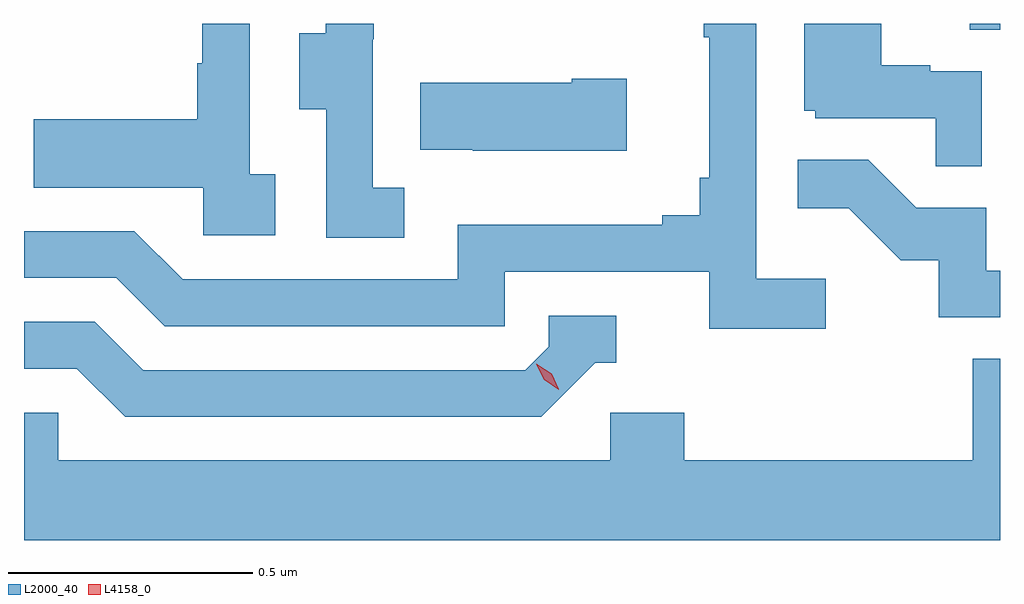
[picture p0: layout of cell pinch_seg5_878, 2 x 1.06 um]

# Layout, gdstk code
import gdstk
lib = gdstk.Library(unit=1e-6, precision=1e-09)
def R(c, l, rs):  # rectangles x0, y0, x1, y1
    for r in rs: c.add(gdstk.rectangle(r[:2], r[2:], *l))
def P(c, l, *ps):  # polygons
    for p in ps: c.add(gdstk.Polygon(p, *l))
L2000_40 = (2000, 40)
L4158_0 = (4158, 0)

pinch_seg5_878 = lib.new_cell('pinch_seg5_878')
R(pinch_seg5_878, L2000_40, [(854.105,891.106,854.167,891.119)])
P(pinch_seg5_878, L2000_40, [(853.81,890.596),(853.668,890.596),(853.668,891.119),(853.56,891.119),(853.56,891.091),(853.571,891.091),(853.571,890.803),(853.552,890.803),(853.552,890.726),(853.475,890.726),(853.475,890.707),(853.056,890.707),(853.056,890.595),(852.492,890.595),(852.393,890.694),(852.167,890.694),(852.167,890.598),(852.356,890.598),(852.455,890.499),(853.152,890.499),(853.152,890.61),(853.571,890.61),(853.571,890.494),(853.81,890.494)],
  [(852.682,890.81),(852.63,890.81),(852.63,891.119),(852.532,891.119),(852.532,891.038),(852.522,891.038),(852.522,890.923),(852.187,890.923),(852.187,890.783),(852.534,890.783),(852.534,890.685),(852.682,890.685)],
  [(854.13,891.021),(854.024,891.021),(854.024,891.034),(853.924,891.034),(853.924,891.119),(853.766,891.119),(853.766,890.94),(853.788,890.94),(853.788,890.925),(854.035,890.925),(854.035,890.827),(854.13,890.827)],
  [(852.946,890.783),(852.882,890.783),(852.882,891.087),(852.884,891.087),(852.884,891.119),(852.785,891.119),(852.785,891.099),(852.731,891.099),(852.731,890.944),(852.786,890.944),(852.786,890.68),(852.946,890.68)],
  [(853.402,891.006),(853.289,891.006),(853.289,890.998),(852.979,890.998),(852.979,890.861),(853.087,890.861),(853.087,890.858),(853.402,890.858)],
  [(854.167,890.613),(854.139,890.613),(854.139,890.742),(853.995,890.742),(853.897,890.84),(853.753,890.84),(853.753,890.741),(853.857,890.741),(853.964,890.634),(854.041,890.634),(854.041,890.517),(854.167,890.517)],
  [(853.338,890.424),(853.381,890.424),(853.381,890.52),(853.242,890.52),(853.242,890.457),(853.194,890.409),(852.411,890.409),(852.312,890.508),(852.167,890.508),(852.167,890.415),(852.168,890.415),(852.168,890.412),(852.275,890.412),(852.374,890.313),(853.227,890.313)],
  [(854.167,890.432),(854.111,890.432),(854.111,890.224),(853.52,890.224),(853.52,890.322),(853.368,890.322),(853.368,890.224),(852.237,890.224),(852.237,890.322),(852.167,890.322),(852.167,890.06),(854.167,890.06)])
P(pinch_seg5_878, L4158_0, [(853.263,890.369),(853.233,890.389),(853.217,890.421),(853.217,890.422),(853.217,890.422),(853.248,890.402),(853.263,890.37),(853.263,890.369)])

lib.write_gds('pinch_seg5_878.gds')
